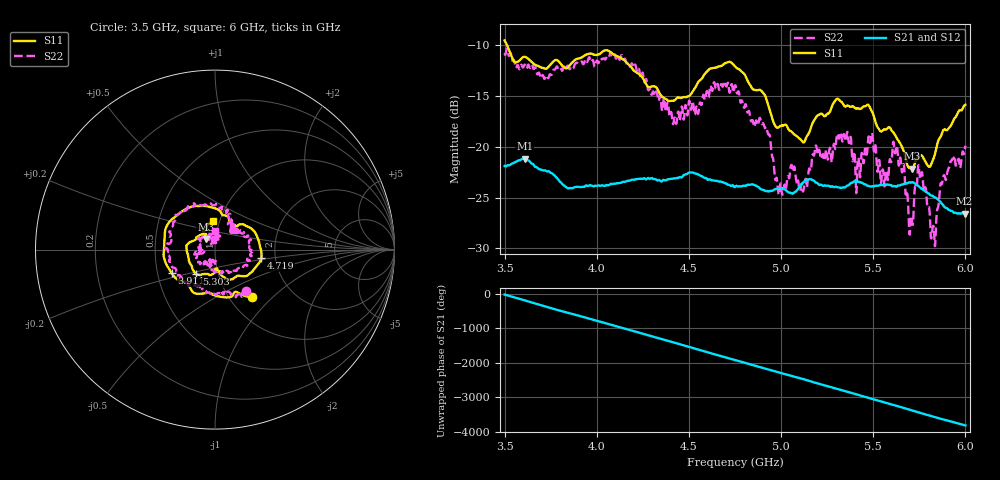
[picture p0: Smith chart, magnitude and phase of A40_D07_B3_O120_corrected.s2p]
! Created with skrf 1.9.0 (http://scikit-rf.org).
# Hz S RI R 50.0
!freq ReS11 ImS11 ReS21 ImS21 ReS12 ImS12 ReS22 ImS22
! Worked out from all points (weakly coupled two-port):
!   1601 points, 3.5 GHz to 6 GHz, reference 50 ohm
!   highest |S21| = -21.17 dB at 3.609 GHz (marker M1); lowest = -26.6 dB at 5.995 GHz (marker M2)
!   lowest |S11| = -22.1 dB at 5.709 GHz (marker M3), VSWR 1.17, Z = 44.8 + j5.32 ohm
!   |S11| at or under -10 dB: 3.514 GHz to end of sweep
!   |S22| runs from -29.8 to -10.3 dB; largest |S21 - S12| = 0.00095
!   S11 on the Smith chart (normalised r, x): 3.5 GHz: 1.26, -0.75; 3.911 GHz: 0.59, -0.17; 4.719 GHz: 1.69, -0.17; 5.303 GHz: 0.78, -0.22; 6 GHz: 0.93, +0.31
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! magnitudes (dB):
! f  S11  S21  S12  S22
! 3.5 GHz  -9.5  -21.9  -21.9  -10.8
! 3.609 GHz  -11.1  -21.2  -21.2  -11.9
! 3.911 GHz  -11.2  -24.0  -23.9  -11.6
! 3.917 GHz  -11.2  -23.9  -23.9  -11.6
! 4.142 GHz  -11.4  -23.4  -23.4  -11.3
! 4.334 GHz  -14.5  -23.3  -23.2  -15.4
! 4.423 GHz  -15.4  -23.1  -23.1  -17.1
! 4.719 GHz  -11.6  -23.7  -23.8  -14.5
! 4.75 GHz  -12.1  -24.0  -23.9  -14.0
! 4.928 GHz  -15.8  -24.3  -24.4  -18.7
! 4.995 GHz  -17.9  -24.1  -24.0  -23.7
! 5.167 GHz  -17.8  -23.3  -23.2  -21.2
! 5.303 GHz  -15.3  -24.0  -23.9  -18.8
! 5.486 GHz  -16.3  -23.9  -23.9  -19.4
! 5.584 GHz  -18.1  -23.7  -23.7  -22.4
! 5.62 GHz  -18.9  -23.9  -23.9  -20.6
! 5.709 GHz  -22.1  -23.5  -23.5  -27.1
! 5.755 GHz  -20.8  -24.0  -24.0  -23.0
! 5.827 GHz  -21.2  -24.9  -24.9  -27.8
! 5.875 GHz  -18.6  -25.7  -25.6  -23.4
! 5.995 GHz  -15.9  -26.6  -26.5  -20.5
! 6 GHz  -15.8  -26.6  -26.5  -19.9
